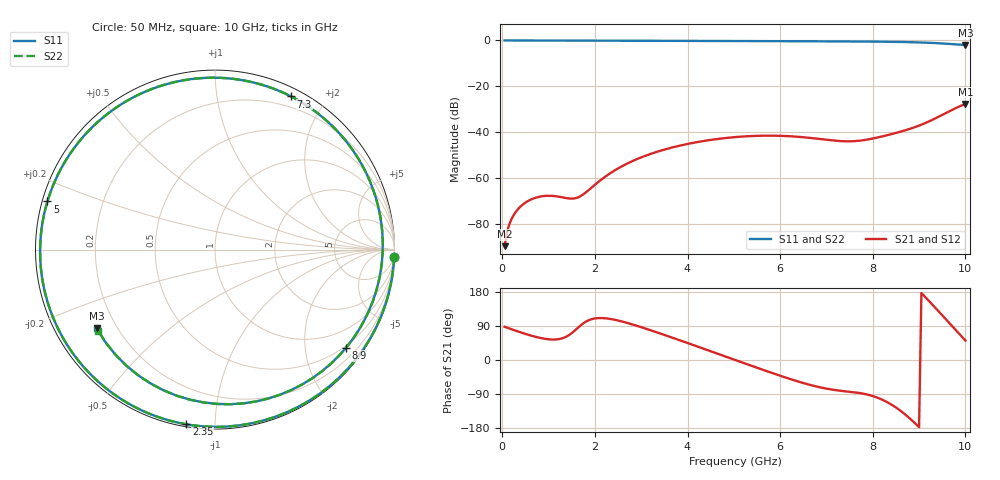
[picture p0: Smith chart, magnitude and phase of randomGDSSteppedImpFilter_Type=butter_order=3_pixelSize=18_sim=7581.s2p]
! freq	dB(S11)	phase(S11)	dB(S12)	phase(S12)
!  dB(S21)	phase(S21)	dB(S22)	phase(S22)
!S-par simulation data
#  GHz  S  DB  R 50
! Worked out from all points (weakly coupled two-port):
!   200 points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, 50 MHz to 10 GHz, reference 50 ohm
!   highest |S21| = -27.77 dB at 10 GHz (marker M1); lowest = -89.9 dB at 50 MHz (marker M2)
!   lowest |S11| = -2.0 dB at 10 GHz (marker M3), VSWR 8.61, Z = 6.33 - j14.9 ohm
!   |S11| at or under -10 dB: nowhere
!   |S22| runs from -2.0 to 0.0 dB; largest |S21 - S12| = 0
!   S11 on the Smith chart (normalised r, x): 50 MHz: 1, -50; 2.35 GHz: 0.01, -0.85; 5 GHz: 0.01, +0.14; 7.3 GHz: 0.09, +1.61; 8.9 GHz: 0.45, -2.94; 10 GHz: 0.13, -0.30
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0.05  -0.01 -2.3  -89.89 87.7  -89.89 87.7  -0.01 -2.3
0.15  -0.01 -6.8  -80.44 83.3  -80.44 83.3  -0.01 -6.8
0.4  -0.02 -18.0  -72.46 72.7  -72.46 72.7  -0.02 -18.0
0.7  -0.04 -31.2  -68.86 61.8  -68.86 61.8  -0.04 -31.2
1.55  -0.08 -67.5  -69.04 76.1  -69.04 76.1  -0.08 -67.5
1.75  -0.09 -75.6  -67.24 96.8  -67.24 96.8  -0.09 -75.6
2.35  -0.12 -99.3  -57.77 108.0  -57.77 108.0  -0.12 -99.3
3.4  -0.16 -138.2  -48.29 70.4  -48.29 70.4  -0.16 -138.2
4.2  -0.20 -166.8  -44.45 36.2  -44.45 36.2  -0.20 -166.9
5  -0.25 164.0  -42.29 1.3  -42.29 1.3  -0.25 163.9
5.05  -0.26 162.1  -42.20 -0.9  -42.20 -0.9  -0.26 162.0
5.85  -0.31 130.7  -41.61 -35.3  -41.61 -35.3  -0.31 130.7
6.7  -0.37 93.4  -42.71 -67.4  -42.71 -67.4  -0.37 93.3
7.3  -0.42 63.6  -43.98 -81.1  -43.98 -81.1  -0.42 63.6
7.9  -0.49 30.2  -43.25 -91.7  -43.25 -91.7  -0.49 30.2
8.35  -0.58 2.1  -41.21 -113.9  -41.21 -113.9  -0.58 2.3
8.65  -0.68 -18.4  -39.57 -138.8  -39.57 -138.8  -0.67 -18.1
8.9  -0.80 -36.9  -37.96 -165.4  -37.96 -165.4  -0.79 -36.5
9.25  -1.05 -65.9  -35.04 151.0  -35.04 151.0  -1.04 -65.3
9.5  -1.31 -89.5  -32.53 118.0  -32.53 118.0  -1.30 -88.7
9.75  -1.65 -116.2  -29.98 84.6  -29.98 84.6  -1.63 -115.2
10  -2.03 -146.3  -27.77 51.4  -27.77 51.4  -2.02 -145.1
